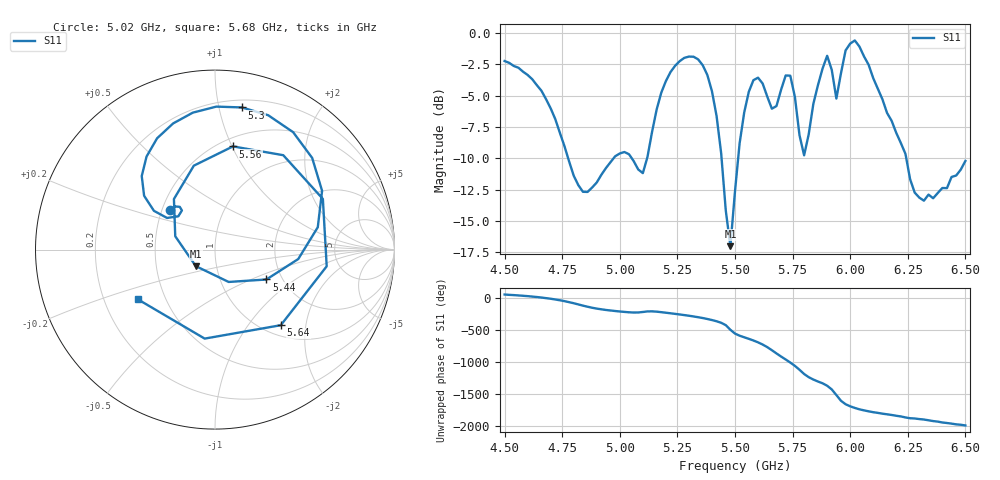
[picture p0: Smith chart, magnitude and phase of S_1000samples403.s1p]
! TOUCHSTONE file generated by CST MICROWAVE STUDIO
! Date and time: Fri Oct 28 01:25:11 2022
! Project name: L.cst
! Parameters = {Di=1.27; Epsilon_r=1.56; InnerDiameter=1.27; Length=2; Lf=10; Lg=60; OuterConductorThickness=0.2921; OuterDiameter=3.6; Wf=3; Wp=41.2; de=1.5; df=6.8; g=0.8; gx=4.15766; gy=0.862241; h=2.34; hf=1.524; px=14.2664; py=14.1054; w=9.7; wx=10.1087; wy=13.2431}
! Header version: 2018
! Port assignment regex: !\s*Touchstone port\s*([0-9]+)\s*=\s*(CST MWS port|CST DS port)\s*([0-9]+|Zmin|Zmax)\s*\(\"(.*)\"\)(\s*mode\s*([0-9]+))?.*
! Touchstone port assignment:
! Touchstone port 1 = CST MWS port 1 ("")
# GHz S DB R 50
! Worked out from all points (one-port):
!   101 points, 4.5 GHz to 6.5 GHz, reference 50 ohm
!   lowest |S11| = -17.0 dB at 5.48 GHz (marker M1), VSWR 1.33, Z = 39.7 - j7.47 ohm
!   |S11| at or under -10 dB: 4.776 GHz to 4.973 GHz (196.9 MHz wide, 4.04 % of centre); 5.052 GHz to 5.118 GHz (66.23 MHz wide, 1.3 % of centre); 6.243 GHz to end of sweep (the widest 3 of 4)
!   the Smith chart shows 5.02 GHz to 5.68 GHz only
!   S11 on the Smith chart (normalised r, x): 5.02 GHz: 0.55, +0.27; 5.3 GHz: 0.26, +1.17; 5.44 GHz: 1.66, -0.62; 5.56 GHz: 0.58, +1.01; 5.64 GHz: 1.19, -1.46; 5.68 GHz: 0.35, -0.26
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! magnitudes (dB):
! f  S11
! 4.5 GHz  -2.2
! 4.66 GHz  -4.6
! 4.76 GHz  -9.0
! 4.84 GHz  -12.7
! 5 GHz  -9.6
! 5.02 GHz  -9.5
! 5.1 GHz  -11.2
! 5.18 GHz  -4.8
! 5.26 GHz  -2.2
! 5.3 GHz  -1.9
! 5.38 GHz  -3.3
! 5.44 GHz  -9.6
! 5.48 GHz  -17.0
! 5.5 GHz  -12.6
! 5.56 GHz  -4.7
! 5.6 GHz  -3.6
! 5.64 GHz  -5.1
! 5.68 GHz  -5.8
! 5.72 GHz  -3.4
! 5.76 GHz  -5.1
! 5.8 GHz  -9.8
! 5.9 GHz  -1.8
! 5.94 GHz  -5.2
! 6 GHz  -0.8
! 6.08 GHz  -2.5
! 6.26 GHz  -11.7
! 6.36 GHz  -13.2
! 6.5 GHz  -10.2
